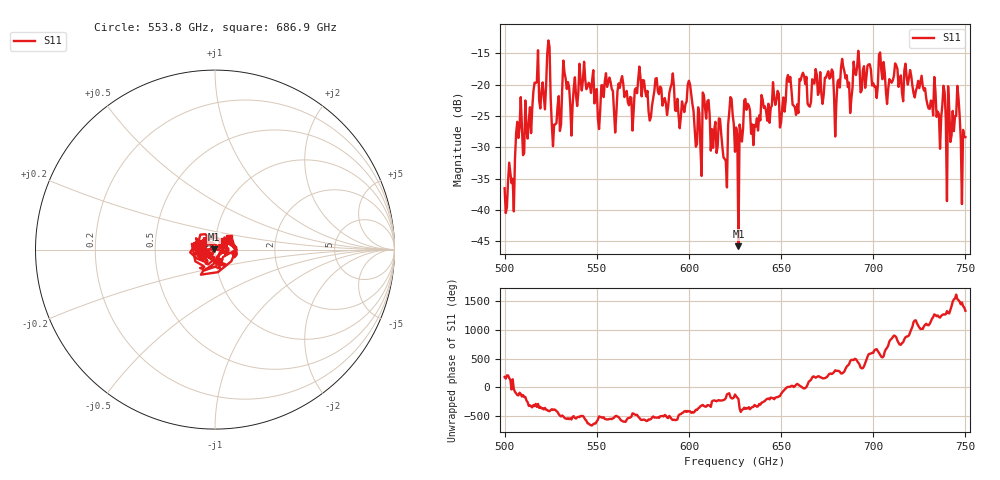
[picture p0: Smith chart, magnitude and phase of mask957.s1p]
!Created with skrf (http://scikit-rf.org).
# GHz S MA R 50.0
!freq magS11 angS11
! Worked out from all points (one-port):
!   401 points, 500 GHz to 750 GHz, reference 50 ohm
!   lowest |S11| = -45.8 dB at 626.9 GHz (marker M1), VSWR 1.01, Z = 49.5 + j0.21 ohm
!   |S11| at or under -10 dB: start of sweep to end of sweep
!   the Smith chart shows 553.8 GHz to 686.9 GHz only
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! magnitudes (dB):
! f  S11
! 500 GHz  -36.6
! 516.9 GHz  -19.8
! 520.6 GHz  -19.7
! 523.8 GHz  -13.0
! 526.9 GHz  -26.4
! 531.2 GHz  -20.7
! 560 GHz  -27.7
! 562.5 GHz  -20.5
! 579.4 GHz  -25.2
! 590.6 GHz  -19.9
! 593.8 GHz  -22.3
! 600.6 GHz  -20.0
! 605.6 GHz  -24.5
! 608.8 GHz  -23.7
! 619.4 GHz  -31.9
! 622.5 GHz  -22.0
! 625 GHz  -30.7
! 626.9 GHz  -45.8
! 631.2 GHz  -24.0
! 635 GHz  -29.7
! 656.2 GHz  -23.2
! 676.9 GHz  -18.9
! 680 GHz  -22.9
! 683.8 GHz  -17.2
! 687.5 GHz  -24.5
! 690.6 GHz  -18.5
! 718.8 GHz  -20.0
! 750 GHz  -28.4
